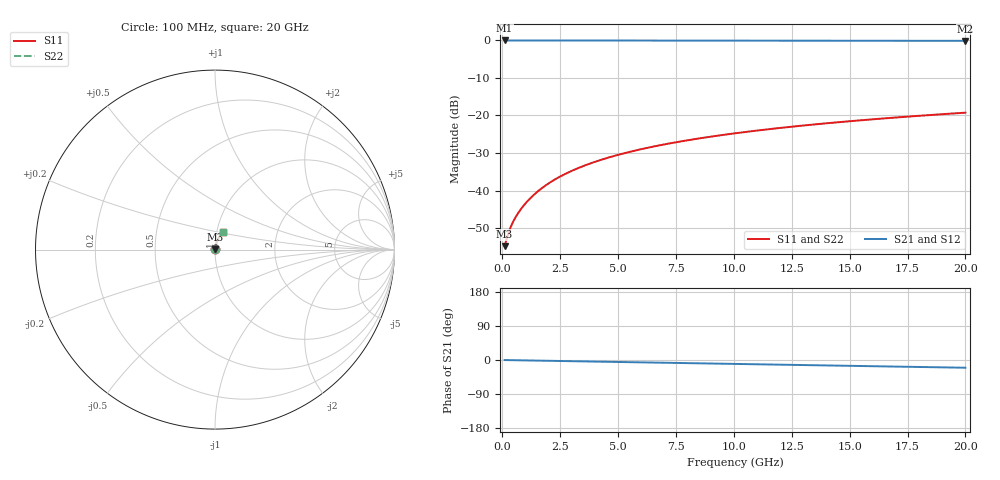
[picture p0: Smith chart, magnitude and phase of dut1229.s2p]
! Touchstone file exported from HFSS 2026.1.0
!  File:  C:/ffzhzh/LocalFiles/Ansys_Project_Files/temp_train_TMRDL_1229_1783163448_43440.aedt
!  Generated:  07:12:00 PM Jul  4, 2026
!  Design:  TMRDL
!  Project:  temp_train_TMRDL_1229_1783163448_43440
! Variables:
!  h_bsmrdl = 2um
!  h_ox = 20um
!  h_rdl = 5um
!  h_sub = 80um
!  h_tmrdl = 3.29um
!  h_tsv = 80um
!  h_via = 3um
!  l_bsmrdl = 300um
!  l_sub = 724.46um
!  l_tmrdl = 324.46um
!  m_sub = 200um
!  pitch = 36.3um
!  r_tsv = 6um
!  s_tmrdl = 10um
!  w_bsmrdl = 18um
!  w_sub = 500um
!  w_tmrdl = 25.94um
!  x_tsv_center1 = 337.43um
!  x_tsv_center2 = 655.43um
!  x_tsv_center3 = 1005.83um
!  x_tsv_center4 = 1323.83um
!  x_tsv_center5 = 1674.23um
!  x_tsv_center6 = 1992.23um
# GHz S MA R 50.000000
! Terminal data exported
! Port[1] = TM_RDL1_1_T1
! Port[2] = TM_RDL1_1_T2
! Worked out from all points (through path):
!   200 points, 100 MHz to 20 GHz, reference 50 ohm
!   highest |S21| = -0.01 dB at 100 MHz (marker M1); lowest = -0.1 dB at 20 GHz (marker M2)
!   group delay of S21, straight-line fit = 2.83 ps
!   lowest |S11| = -54.8 dB at 100 MHz (marker M3), VSWR 1.00, Z = 50.2 + j0.0807 ohm
!   |S11| at or under -10 dB: start of sweep to end of sweep
!   |S22| runs from -54.8 to -19.3 dB; largest |S21 - S12| = 5e-15
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0.1  0.001816 26.3  0.9984 -0.1  0.9984 -0.1  0.001816 26.3
! Gamma 0 0 0 0
! Port Impedance 50 0 50 0
0.2  0.00234 41.3  0.9982 -0.2  0.9982 -0.2  0.00234 41.3
0.3  0.002916 49.2  0.9981 -0.3  0.9981 -0.3  0.002916 49.2
0.4  0.003477 54.1  0.998 -0.4  0.998 -0.4  0.003476 54.1
0.5  0.004022 57.8  0.9979 -0.5  0.9979 -0.5  0.004021 57.8
0.6  0.00456 60.7  0.9978 -0.7  0.9978 -0.7  0.004558 60.7
0.8  0.005638 65.2  0.9977 -0.9  0.9977 -0.9  0.005637 65.2
1  0.006737 68.5  0.9976 -1.1  0.9976 -1.1  0.006735 68.5
1.2  0.007855 70.9  0.9976 -1.3  0.9976 -1.3  0.007854 70.9
1.7  0.01072 74.7  0.9975 -1.8  0.9975 -1.8  0.01071 74.7
2.2  0.01362 76.6  0.9973 -2.3  0.9973 -2.3  0.01362 76.6
2.8  0.01713 77.8  0.9971 -2.9  0.9971 -2.9  0.01713 77.8
3.5  0.02122 78.3  0.9968 -3.7  0.9968 -3.7  0.02122 78.3
4.2  0.02528 78.4  0.9965 -4.4  0.9965 -4.4  0.02528 78.4
5  0.02989 78.1  0.9961 -5.2  0.9961 -5.2  0.02989 78.2
5.9  0.03501 77.6  0.9956 -6.2  0.9956 -6.2  0.03501 77.7
6.8  0.04008 77.0  0.9951 -7.1  0.9951 -7.1  0.04008 77.0
8.3  0.04838 75.8  0.9942 -8.6  0.9942 -8.6  0.04838 75.9
10.1  0.05814 74.3  0.993 -10.4  0.993 -10.4  0.05814 74.4
13.4  0.07558 71.4  0.9909 -13.8  0.9909 -13.8  0.07558 71.5
16.7  0.0925 68.5  0.9886 -17.1  0.9886 -17.1  0.0925 68.6
20  0.1089 65.5  0.9863 -20.4  0.9863 -20.4  0.1089 65.6
